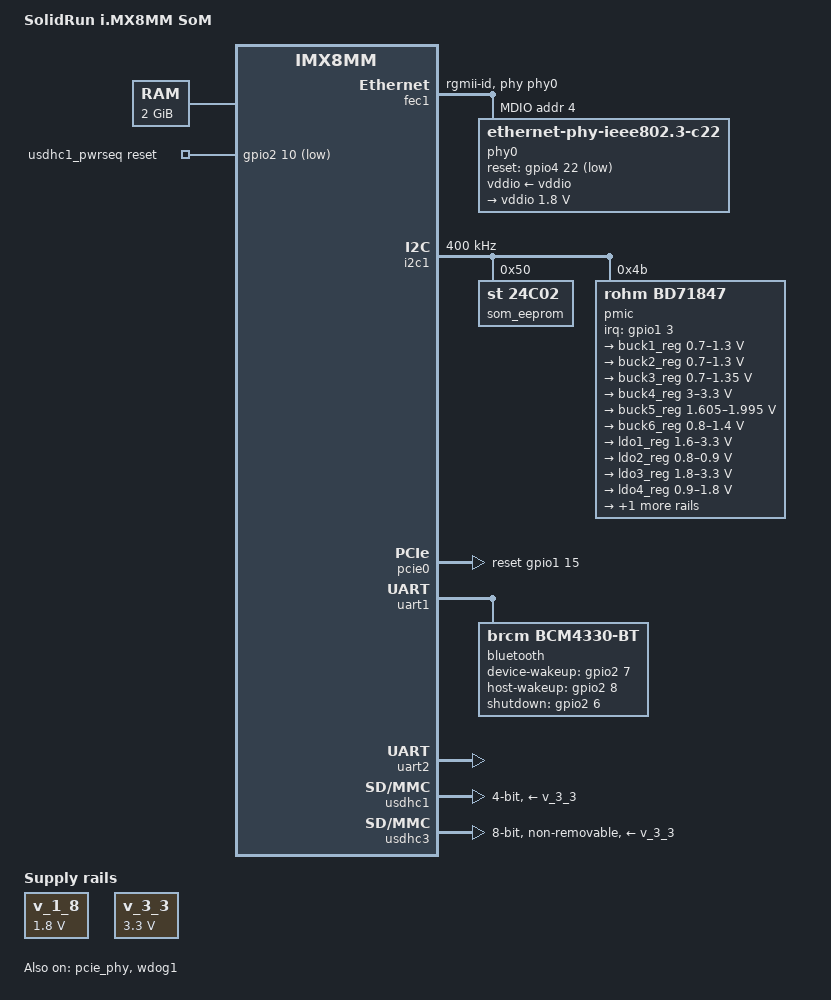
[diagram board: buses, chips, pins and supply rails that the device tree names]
// SPDX-License-Identifier: (GPL-2.0+ OR MIT)
/*
 * Copyright 2025 Josua Mayer <josua@solid-run.com>
 */

#include "imx8mm.dtsi"

/ {
	model = "SolidRun i.MX8MM SoM";
	compatible = "solidrun,imx8mm-sr-som", "fsl,imx8mm";

	chosen {
		bootargs = "earlycon=ec_imx6q,0x30890000,115200";
		stdout-path = &uart2;
	};

	memory@40000000 {
		device_type = "memory";
		reg = <0x0 0x40000000 0 0x80000000>;
	};

	usdhc1_pwrseq: usdhc1-pwrseq {
		compatible = "mmc-pwrseq-simple";
		reset-gpios = <&gpio2 10 GPIO_ACTIVE_LOW>;
	};

	v_1_8: regulator-1-8 {
		compatible = "regulator-fixed";
		regulator-name = "1v8";
		regulator-min-microvolt = <1800000>;
		regulator-max-microvolt = <1800000>;
	};

	v_3_3: regulator-3-3 {
		compatible = "regulator-fixed";
		regulator-name = "3v3";
		regulator-min-microvolt = <3300000>;
		regulator-max-microvolt = <3300000>;
	};
};

&fec1 {
	pinctrl-names = "default";
	pinctrl-0 = <&fec1_pins>;
	phy-mode = "rgmii-id";
	phy = <&phy0>;
	fsl,magic-packet;
	status = "okay";

	mdio {
		#address-cells = <1>;
		#size-cells = <0>;

		phy0: ethernet-phy@4 {
			compatible = "ethernet-phy-ieee802.3-c22";
			reg = <0x4>;
			reset-gpios = <&gpio4 22 GPIO_ACTIVE_LOW>; // MX8MM_IOMUXC_SAI2_RXC_GPIO4_IO22
			phy-reset-duration = <10>;
			qca,smarteee-tw-us-1g = <24>;
			vddio-supply = <&vddio>;

			vddio: vddio-regulator {
				regulator-min-microvolt = <1800000>;
				regulator-max-microvolt = <1800000>;
			};
		};
	};
};

&gpio1 {
	status = "okay";
};

&gpio4 {
	status = "okay";
};

&i2c1 {
	clock-frequency = <400000>;
	pinctrl-names = "default";
	pinctrl-0 = <&i2c1_pins>;
	status = "okay";

	som_eeprom: eeprom@50{
		compatible = "st,24c02", "atmel,24c02";
		reg = <0x50>;
		pagesize = <16>;
	};

	pmic: pmic@4b {
		compatible = "rohm,bd71847";
		reg = <0x4b>;
		pinctrl-0 = <&pmic_pins>;
		pinctrl-names = "default";
		interrupt-parent = <&gpio1>;
		interrupts = <3 GPIO_ACTIVE_LOW>;
		rohm,reset-snvs-powered;

		#clock-cells = <0>;
		clocks = <&osc_32k 0>;
		clock-output-names = "clk-32k-out";

		regulators {
			buck1_reg: BUCK1 {
				regulator-name = "BUCK1";
				regulator-min-microvolt = <700000>;
				regulator-max-microvolt = <1300000>;
				regulator-boot-on;
				regulator-always-on;
				regulator-ramp-delay = <1250>;
			};

			buck2_reg: BUCK2 {
				regulator-name = "BUCK2";
				regulator-min-microvolt = <700000>;
				regulator-max-microvolt = <1300000>;
				regulator-boot-on;
				regulator-always-on;
				regulator-ramp-delay = <1250>;
				rohm,dvs-run-voltage = <1000000>;
				rohm,dvs-idle-voltage = <900000>;
			};

			buck3_reg: BUCK3 {
				// BUCK5 in datasheet
				regulator-name = "BUCK3";
				regulator-min-microvolt = <700000>;
				regulator-max-microvolt = <1350000>;
				regulator-boot-on;
				regulator-always-on;
			};

			buck4_reg: BUCK4 {
				// BUCK6 in datasheet
				regulator-name = "BUCK4";
				regulator-min-microvolt = <3000000>;
				regulator-max-microvolt = <3300000>;
				regulator-boot-on;
				regulator-always-on;
			};

			buck5_reg: BUCK5 {
				// BUCK7 in datasheet
				regulator-name = "BUCK5";
				regulator-min-microvolt = <1605000>;
				regulator-max-microvolt = <1995000>;
				regulator-boot-on;
				regulator-always-on;
			};

			buck6_reg: BUCK6 {
				// BUCK8 in datasheet
				regulator-name = "BUCK6";
				regulator-min-microvolt = <800000>;
				regulator-max-microvolt = <1400000>;
				regulator-boot-on;
				regulator-always-on;
			};

			ldo1_reg: LDO1 {
				regulator-name = "LDO1";
				regulator-min-microvolt = <1600000>;
				regulator-max-microvolt = <3300000>;
				regulator-boot-on;
				regulator-always-on;
			};

			ldo2_reg: LDO2 {
				regulator-name = "LDO2";
				regulator-min-microvolt = <800000>;
				regulator-max-microvolt = <900000>;
				regulator-boot-on;
				regulator-always-on;
			};

			ldo3_reg: LDO3 {
				regulator-name = "LDO3";
				regulator-min-microvolt = <1800000>;
				regulator-max-microvolt = <3300000>;
				regulator-boot-on;
				regulator-always-on;
			};

			ldo4_reg: LDO4 {
				regulator-name = "LDO4";
				regulator-min-microvolt = <900000>;
				regulator-max-microvolt = <1800000>;
				regulator-boot-on;
				regulator-always-on;
			};

			ldo6_reg: LDO6 {
				regulator-name = "LDO6";
				regulator-min-microvolt = <900000>;
				regulator-max-microvolt = <1800000>;
				regulator-boot-on;
				regulator-always-on;
			};
		};
	};
};

&iomuxc {
	fec1_pins: fec1-pins {
		fsl,pins = <
			MX8MM_IOMUXC_ENET_MDC_ENET1_MDC			0x3
			MX8MM_IOMUXC_ENET_MDIO_ENET1_MDIO		0x3
			MX8MM_IOMUXC_ENET_TD3_ENET1_RGMII_TD3		0x1f
			MX8MM_IOMUXC_ENET_TD2_ENET1_RGMII_TD2		0x1f
			MX8MM_IOMUXC_ENET_TD1_ENET1_RGMII_TD1		0x1f
			MX8MM_IOMUXC_ENET_TD0_ENET1_RGMII_TD0		0x1f
			MX8MM_IOMUXC_ENET_RD3_ENET1_RGMII_RD3		0x91
			MX8MM_IOMUXC_ENET_RD2_ENET1_RGMII_RD2		0x91
			MX8MM_IOMUXC_ENET_RD1_ENET1_RGMII_RD1		0x91
			MX8MM_IOMUXC_ENET_RD0_ENET1_RGMII_RD0		0x91
			MX8MM_IOMUXC_ENET_TXC_ENET1_RGMII_TXC		0x1f
			MX8MM_IOMUXC_ENET_RXC_ENET1_RGMII_RXC		0x91
			MX8MM_IOMUXC_ENET_RX_CTL_ENET1_RGMII_RX_CTL	0x91
			MX8MM_IOMUXC_ENET_TX_CTL_ENET1_RGMII_TX_CTL	0x1f
			MX8MM_IOMUXC_SAI2_RXC_GPIO4_IO22		0x19
		>;
	};

	i2c1_pins: i2c1-pins {
		fsl,pins = <
			MX8MM_IOMUXC_I2C1_SCL_I2C1_SCL			0x400001c3
			MX8MM_IOMUXC_I2C1_SDA_I2C1_SDA			0x400001c3
		>;
	};

	pcie_pins: pcie-pins {
		fsl,pins = <
			MX8MM_IOMUXC_GPIO1_IO15_GPIO1_IO15		0x0
		>;
	};

	pmic_pins: pmic-pins {
		fsl,pins = <
			MX8MM_IOMUXC_GPIO1_IO03_GPIO1_IO3		0x41
		>;
	};

	uart1_pins: uart1-pins {
		fsl,pins = <
			MX8MM_IOMUXC_UART1_RXD_UART1_DCE_RX	0x140
			MX8MM_IOMUXC_UART1_TXD_UART1_DCE_TX	0x140
			MX8MM_IOMUXC_UART3_RXD_UART1_DCE_CTS_B	0x140
			MX8MM_IOMUXC_UART3_TXD_UART1_DCE_RTS_B	0x140
			/* BT_REG_ON */
			MX8MM_IOMUXC_SD1_DATA4_GPIO2_IO6	0x0
			/* BT_WAKE_DEV */
			MX8MM_IOMUXC_SD1_DATA5_GPIO2_IO7	0x0
			/* BT_WAKE_HOST */
			MX8MM_IOMUXC_SD1_DATA6_GPIO2_IO8	0x100
		>;
	};

	uart2_pins: uart2-pins {
		fsl,pins = <
			MX8MM_IOMUXC_UART2_RXD_UART2_DCE_RX		0x140
			MX8MM_IOMUXC_UART2_TXD_UART2_DCE_TX		0x140
		>;
	};

	usdhc1_pins: usdhc1-pins {
		fsl,pins = <
			MX8MM_IOMUXC_SD1_CLK_USDHC1_CLK         	0x190
			MX8MM_IOMUXC_SD1_CMD_USDHC1_CMD         	0x1d0
			MX8MM_IOMUXC_SD1_DATA0_USDHC1_DATA0     	0x1d0
			MX8MM_IOMUXC_SD1_DATA1_USDHC1_DATA1     	0x1d0
			MX8MM_IOMUXC_SD1_DATA2_USDHC1_DATA2     	0x1d0
			MX8MM_IOMUXC_SD1_DATA3_USDHC1_DATA3     	0x1d0
			/* wifi refclk */
			MX8MM_IOMUXC_GPIO1_IO00_ANAMIX_REF_CLK_32K	0x0
			/* WL_REG_ON */
			MX8MM_IOMUXC_SD1_RESET_B_GPIO2_IO10     	0x0
			/* WL_WAKE_HOST */
			MX8MM_IOMUXC_SD1_DATA7_GPIO2_IO9		0x100
		>;
	};

	usdhc3_pins: usdhc3-pins {
		fsl,pins = <
			MX8MM_IOMUXC_NAND_WE_B_USDHC3_CLK		0x190
			MX8MM_IOMUXC_NAND_WP_B_USDHC3_CMD		0x1d0
			MX8MM_IOMUXC_NAND_DATA04_USDHC3_DATA0		0x1d0
			MX8MM_IOMUXC_NAND_DATA05_USDHC3_DATA1		0x1d0
			MX8MM_IOMUXC_NAND_DATA06_USDHC3_DATA2		0x1d0
			MX8MM_IOMUXC_NAND_DATA07_USDHC3_DATA3		0x1d0
			MX8MM_IOMUXC_NAND_RE_B_USDHC3_DATA4		0x1d0
			MX8MM_IOMUXC_NAND_CE2_B_USDHC3_DATA5		0x1d0
			MX8MM_IOMUXC_NAND_CE3_B_USDHC3_DATA6		0x1d0
			MX8MM_IOMUXC_NAND_CLE_USDHC3_DATA7		0x1d0
			MX8MM_IOMUXC_NAND_CE1_B_USDHC3_STROBE 		0x190
		>;
	};

	usdhc3_100mhz_pins: usdhc3-100mhz-pins {
		fsl,pins = <
			MX8MM_IOMUXC_NAND_WE_B_USDHC3_CLK		0x194
			MX8MM_IOMUXC_NAND_WP_B_USDHC3_CMD		0x1d4
			MX8MM_IOMUXC_NAND_DATA04_USDHC3_DATA0		0x1d4
			MX8MM_IOMUXC_NAND_DATA05_USDHC3_DATA1		0x1d4
			MX8MM_IOMUXC_NAND_DATA06_USDHC3_DATA2		0x1d4
			MX8MM_IOMUXC_NAND_DATA07_USDHC3_DATA3		0x1d4
			MX8MM_IOMUXC_NAND_RE_B_USDHC3_DATA4		0x1d4
			MX8MM_IOMUXC_NAND_CE2_B_USDHC3_DATA5		0x1d4
			MX8MM_IOMUXC_NAND_CE3_B_USDHC3_DATA6		0x1d4
			MX8MM_IOMUXC_NAND_CLE_USDHC3_DATA7		0x1d4
			MX8MM_IOMUXC_NAND_CE1_B_USDHC3_STROBE 		0x194
		>;
	};

	usdhc3_200mhz_pins: usdhc3-200mhz-pins {
		fsl,pins = <
			MX8MM_IOMUXC_NAND_WE_B_USDHC3_CLK		0x196
			MX8MM_IOMUXC_NAND_WP_B_USDHC3_CMD		0x1d6
			MX8MM_IOMUXC_NAND_DATA04_USDHC3_DATA0		0x1d6
			MX8MM_IOMUXC_NAND_DATA05_USDHC3_DATA1		0x1d6
			MX8MM_IOMUXC_NAND_DATA06_USDHC3_DATA2		0x1d6
			MX8MM_IOMUXC_NAND_DATA07_USDHC3_DATA3		0x1d6
			MX8MM_IOMUXC_NAND_RE_B_USDHC3_DATA4		0x1d6
			MX8MM_IOMUXC_NAND_CE2_B_USDHC3_DATA5		0x1d6
			MX8MM_IOMUXC_NAND_CE3_B_USDHC3_DATA6		0x1d6
			MX8MM_IOMUXC_NAND_CLE_USDHC3_DATA7		0x1d6
			MX8MM_IOMUXC_NAND_CE1_B_USDHC3_STROBE 		0x196
		>;
	};

	wdog1_pins: wdog1-pins {
		fsl,pins = <
			MX8MM_IOMUXC_GPIO1_IO02_WDOG1_WDOG_B	0x140
		>;
	};
};

&pcie_phy {
	status = "okay";
};

/* assembly-option for AI accelerator on SoM, otherwise routed to carrier */
&pcie0 {
	pinctrl-names = "default";
	pinctrl-0 = <&pcie_pins>;
	reset-gpios = <&gpio1 15 (GPIO_ACTIVE_HIGH|GPIO_OPEN_DRAIN)>;
	status = "okay";
};

&uart1 {
	pinctrl-names = "default";
	pinctrl-0 = <&uart1_pins>;
	uart-has-rtscts;
	/* select 80MHz parent clock to support maximum baudrate 4Mbps */
	assigned-clocks = <&clk IMX8MM_CLK_UART1>;
	assigned-clock-parents = <&clk IMX8MM_SYS_PLL1_80M>;
	status = "okay";

	bluetooth {
		compatible = "brcm,bcm4330-bt";
		device-wakeup-gpios = <&gpio2 7 GPIO_ACTIVE_HIGH>;
		host-wakeup-gpios = <&gpio2 8 GPIO_ACTIVE_HIGH>;
		shutdown-gpios = <&gpio2 6 GPIO_ACTIVE_HIGH>;
		max-speed = <3000000>;
	};
};

&uart2 {
	pinctrl-names = "default";
	pinctrl-0 = <&uart2_pins>;
	status = "okay";
};

&usdhc1 {
	pinctrl-names = "default";
	pinctrl-0 = <&usdhc1_pins>;
	vmmc-supply = <&v_3_3>;
	vqmmc-supply = <&v_1_8>;
	bus-width = <4>;
	mmc-pwrseq = <&usdhc1_pwrseq>;
	status = "okay";
};

&usdhc3 {
	pinctrl-names = "default", "state_100mhz", "state_200mhz";
	pinctrl-0 = <&usdhc3_pins>;
	pinctrl-1 = <&usdhc3_100mhz_pins>;
	pinctrl-2 = <&usdhc3_200mhz_pins>;
	vmmc-supply = <&v_3_3>;
	vqmmc-supply = <&v_1_8>;
	bus-width = <8>;
	non-removable;
	status = "okay";
};

&wdog1 {
	pinctrl-names = "default";
	pinctrl-0 = <&wdog1_pins>;
	status = "okay";
};
